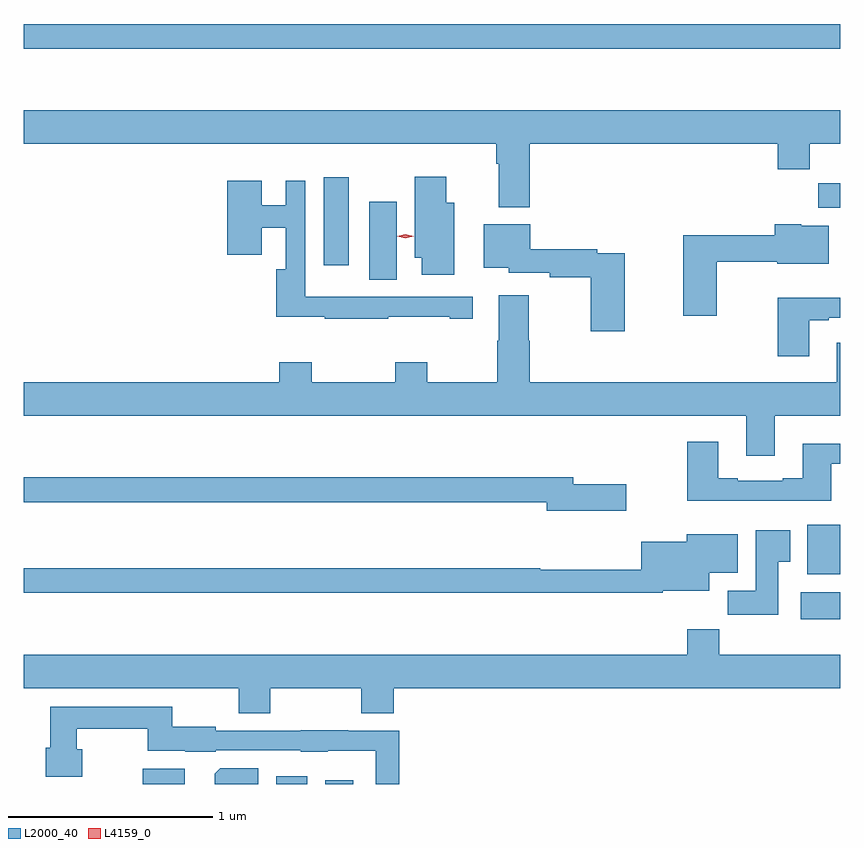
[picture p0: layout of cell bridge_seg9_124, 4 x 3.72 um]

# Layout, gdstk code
import gdstk
lib = gdstk.Library(unit=1e-6, precision=1e-09)
def R(c, l, rs):  # rectangles x0, y0, x1, y1
    for r in rs: c.add(gdstk.rectangle(r[:2], r[2:], *l))
def P(c, l, *ps):  # polygons
    for p in ps: c.add(gdstk.Polygon(p, *l))
L2000_40 = (2000, 40)
L4159_0 = (4159, 0)

bridge_seg9_124 = lib.new_cell('bridge_seg9_124')
R(bridge_seg9_124, L2000_40, [(493.922,1229.25,494.128,1229.324), (494.576,1229.25,494.728,1229.287), (494.816,1229.25,494.953,1229.269), (497.145,1230.056,497.339,1230.19), (497.177,1230.278,497.339,1230.52), (495.032,1231.72,495.166,1232.101), (494.81,1231.791,494.932,1232.221), (497.23,1232.072,497.339,1232.191), (493.339,1232.85,497.339,1232.971)])
P(bridge_seg9_124, L2000_40, [(495.818,1232.384),(497.033,1232.384),(497.033,1232.26),(497.189,1232.26),(497.189,1232.384),(497.339,1232.384),(497.339,1232.548),(493.339,1232.548),(493.339,1232.384),(495.653,1232.384),(495.653,1232.288),(495.665,1232.288),(495.665,1232.075),(495.818,1232.075)],
  [(495.448,1232.095),(495.409,1232.095),(495.409,1232.224),(495.254,1232.224),(495.254,1231.826),(495.29,1231.826),(495.29,1231.743),(495.448,1231.743)],
  [(495.125,1231.537),(495.425,1231.537),(495.425,1231.527),(495.538,1231.527),(495.538,1231.635),(494.928,1231.635),(494.928,1231.636),(494.718,1231.636),(494.718,1232.203),(494.622,1232.203),(494.622,1232.083),(494.506,1232.083),(494.506,1232.203),(494.336,1232.203),(494.336,1231.842),(494.506,1231.842),(494.506,1231.973),(494.622,1231.973),(494.622,1231.771),(494.576,1231.771),(494.576,1231.537),(494.815,1231.537),(494.815,1231.527),(495.125,1231.527)],
  [(496.734,1231.807),(497.03,1231.807),(497.03,1231.796),(497.281,1231.796),(497.281,1231.984),(497.148,1231.984),(497.148,1231.99),(497.018,1231.99),(497.018,1231.936),(496.568,1231.936),(496.568,1231.542),(496.734,1231.542)],
  [(496.282,1231.848),(496.148,1231.848),(496.148,1231.868),(495.82,1231.868),(495.82,1231.99),(495.593,1231.99),(495.593,1231.778),(495.714,1231.778),(495.714,1231.752),(495.916,1231.752),(495.916,1231.732),(496.117,1231.732),(496.117,1231.467),(496.282,1231.467)],
  [(497.017,1231.052),(497.339,1231.052),(497.339,1231.411),(497.321,1231.411),(497.321,1231.216),(495.818,1231.216),(495.818,1231.421),(495.813,1231.421),(495.813,1231.642),(495.665,1231.642),(495.665,1231.421),(495.658,1231.421),(495.658,1231.216),(495.315,1231.216),(495.315,1231.315),(495.16,1231.315),(495.16,1231.216),(494.751,1231.216),(494.751,1231.315),(494.591,1231.315),(494.591,1231.216),(493.339,1231.216),(493.339,1231.052),(496.877,1231.052),(496.877,1230.858),(497.017,1230.858)],
  [(497.185,1231.521),(497.281,1231.521),(497.281,1231.533),(497.339,1231.533),(497.339,1231.63),(497.033,1231.63),(497.033,1231.344),(497.185,1231.344)],
  [(497.293,1230.819),(497.339,1230.819),(497.339,1230.916),(497.153,1230.916),(497.153,1230.748),(497.057,1230.748),(497.057,1230.735),(496.837,1230.735),(496.837,1230.748),(496.741,1230.748),(496.741,1230.925),(496.589,1230.925),(496.589,1230.638),(497.293,1230.638)],
  [(496.291,1230.717),(496.03,1230.717),(496.03,1230.751),(493.339,1230.751),(493.339,1230.63),(495.902,1230.63),(495.902,1230.587),(496.291,1230.587)],
  [(497.035,1230.337),(497.092,1230.337),(497.092,1230.493),(496.925,1230.493),(496.925,1230.196),(496.786,1230.196),(496.786,1230.078),(497.035,1230.078)],
  [(496.468,1230.197),(496.696,1230.197),(496.696,1230.284),(496.837,1230.284),(496.837,1230.472),(496.586,1230.472),(496.586,1230.436),(496.364,1230.436),(496.364,1230.299),(495.868,1230.299),(495.868,1230.307),(493.339,1230.307),(493.339,1230.186),(496.468,1230.186)],
  [(493.339,1229.72),(494.392,1229.72),(494.392,1229.596),(494.547,1229.596),(494.547,1229.72),(494.992,1229.72),(494.992,1229.596),(495.152,1229.596),(495.152,1229.72),(497.339,1229.72),(497.339,1229.884),(496.745,1229.884),(496.745,1230.008),(496.589,1230.008),(496.589,1229.884),(493.339,1229.884)],
  [(495.179,1229.511),(494.929,1229.511),(494.929,1229.513),(494.697,1229.513),(494.697,1229.511),(494.28,1229.511),(494.28,1229.53),(494.068,1229.53),(494.068,1229.628),(493.471,1229.628),(493.471,1229.427),(493.448,1229.427),(493.448,1229.285),(493.626,1229.285),(493.626,1229.419),(493.6,1229.419),(493.6,1229.52),(493.947,1229.52),(493.947,1229.414),(494.13,1229.414),(494.13,1229.408),(494.28,1229.408),(494.28,1229.415),(494.697,1229.415),(494.697,1229.408),(494.829,1229.408),(494.829,1229.414),(495.063,1229.414),(495.063,1229.25),(495.179,1229.25)],
  [(494.488,1229.326),(494.302,1229.326),(494.276,1229.3),(494.276,1229.25),(494.488,1229.25)])
P(bridge_seg9_124, L4159_0, [(495.209,1231.921),(495.168,1231.931),(495.167,1231.931),(495.168,1231.931),(495.209,1231.941),(495.25,1231.931),(495.25,1231.931),(495.25,1231.931)])

lib.write_gds('bridge_seg9_124.gds')
